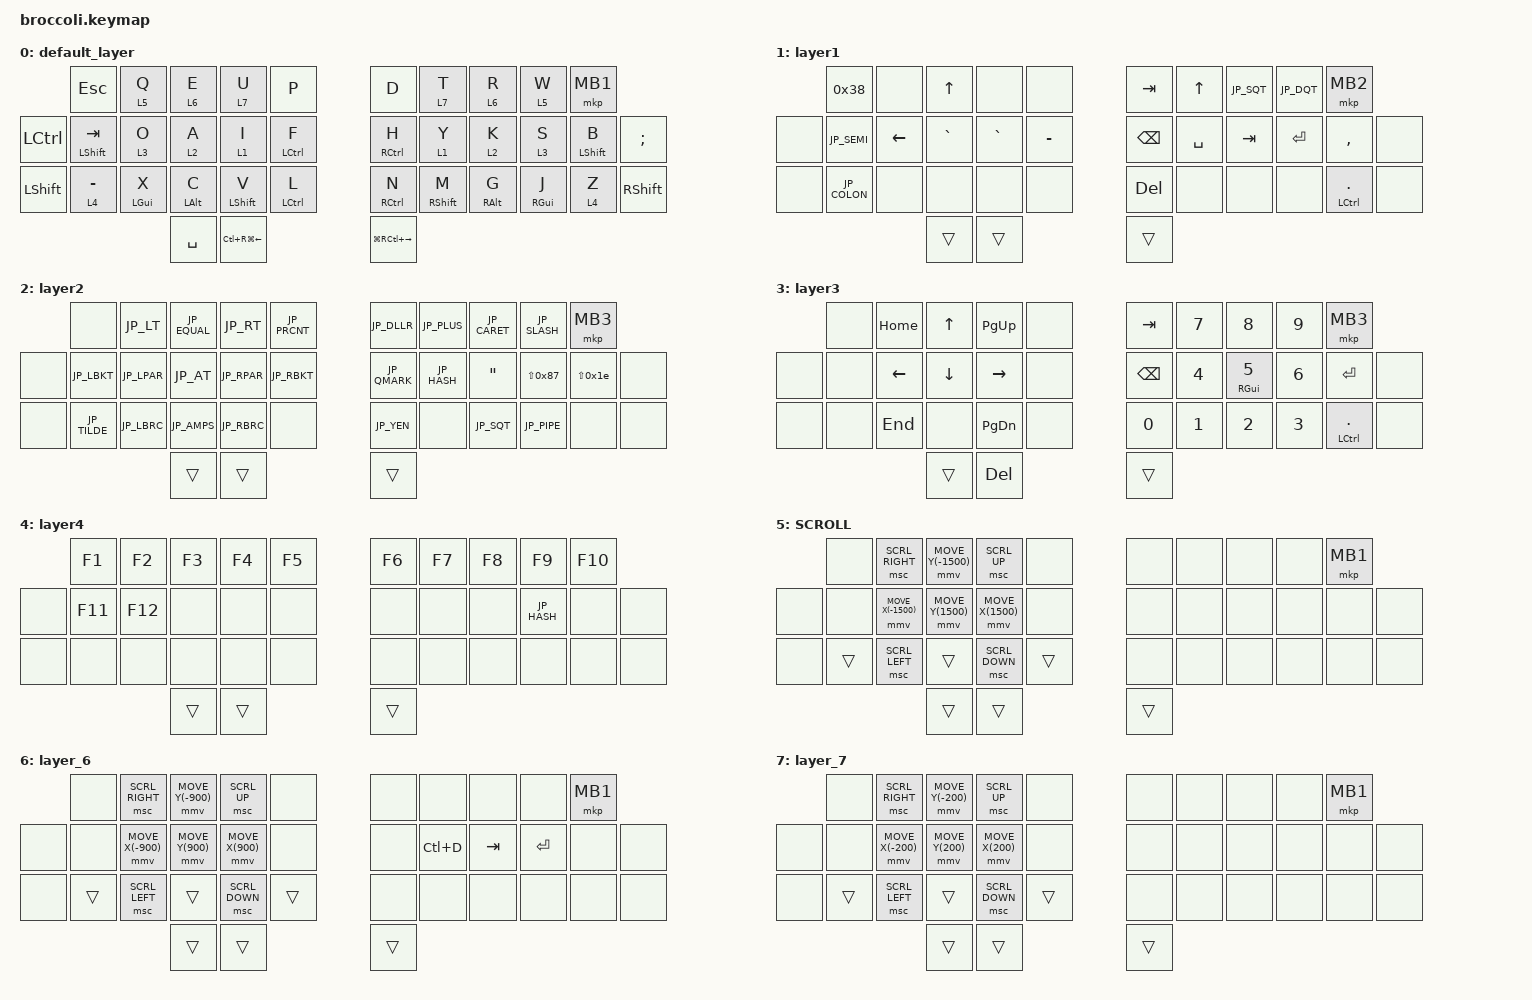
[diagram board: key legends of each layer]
#include "keycode_japanese.h"

#include <input/processors.dtsi>
#include <dt-bindings/zmk/input_transform.h>
#include <behaviors.dtsi>
#include <dt-bindings/zmk/bt.h>
#include <dt-bindings/zmk/keys.h>
#include <dt-bindings/zmk/pointing.h>




&msc {
    acceleration-exponent = <0>;      // 0
    time-to-max-speed-ms = <0>;       // 300
    delay-ms = <0>;                   // 0
};

&mmv {
    time-to-max-speed-ms = <0>;
    acceleration-exponent = <0>;
    trigger-period-ms = <10>;
    delay-ms = <0>;
};

&mt { 
    flavor = "balanced"; 
    tapping-term-ms = <200>;
    quick-tap-ms = <150>; 
};

&lt {
    flavor = "balanced";
    tapping-term-ms = <200>; 
    quick-tap-ms = <150>; 
};




/ {

    keymap {
        compatible = "zmk,keymap";

        default_layer {
            bindings = <
                &kp ESCAPE      &lt 5 Q    &lt 6 E    &lt 7 U  &kp P                               &kp D        &lt 7 T       &lt 6 R     &lt 5 W     &mkp MB1
&kp LEFT_CONTROL &mt LSHIFT TAB  &lt 3 O    &lt 2 A    &lt 1 I       &mt LCTRL F                  &mt RCTRL H  &lt 1 Y       &lt 2 K     &lt 3 S     &mt LEFT_SHIFT B    &kp SEMICOLON
&kp LEFT_SHIFT   &lt 4 MINUS     &mt LGUI X &mt LALT C &mt LSHIFT V  &mt LCTRL L                  &mt RCTRL N  &mt RSHIFT M  &mt RALT G  &mt RGUI J  &lt 4 Z             &kp RIGHT_SHIFT

                                            &kp SPACE &kp LC(RG(LEFT))                            &kp LG(RC(RIGHT))
            >;
        };

        layer1 {
            bindings = <
       &kp 0x38      &none      &kp UP     &none      &none                              &kp TAB        &kp UP     &kp JP_SQT  &kp JP_DQT  &mkp MB2
&none   &kp JP_SEMI   &kp LEFT   &kp GRAVE  &kp GRAVE  &kp MINUS                       &kp BACKSPACE  &kp SPACE  &kp TAB     &kp ENTER   &kp COMMA    &none
&none     &kp JP_COLON  &none      &none      &none      &none                          &kp DELETE     &none      &none       &none       &mt LCTRL PERIOD &none
                                               &trans            &trans                                                   &trans
            >;
        };

        layer2 {
            bindings = <
                   &none        &kp JP_LT      &kp JP_EQUAL   &kp JP_RT    &kp JP_PRCNT                               &kp JP_DLLR   &kp JP_PLUS  &kp JP_CARET      &kp JP_SLASH  &mkp MB3
          &none    &kp JP_LBKT  &kp JP_LPAR    &kp JP_AT      &kp JP_RPAR  &kp JP_RBKT                             &kp JP_QMARK  &kp JP_HASH  &kp DOUBLE_QUOTES &kp LS(0x87)  &kp LS(0x1e)   &none
          &none    &kp JP_TILDE &kp JP_LBRC    &kp JP_AMPS    &kp JP_RBRC  &none                                   &kp JP_YEN    &none        &kp JP_SQT        &kp JP_PIPE   &none          &none
  
                                                   &trans                        &trans                                                                                  &trans
            >;
        };

        layer3 {
            bindings = <
                       &none        &kp HOME   &kp UP     &kp PAGE_UP      &none                               &kp TAB          &kp N7          &kp N8        &kp N9         &mkp MB3
             &none     &none        &kp LEFT   &kp DOWN   &kp RIGHT        &none                               &kp BACKSPACE  &kp N4          &mt RGUI N5        &kp N6         &kp ENTER        &none
             &none     &none        &kp END    &none      &kp PAGE_DOWN    &none                               &kp N0         &kp N1          &kp N2        &kp N3         &mt LCTRL PERIOD      &none       
           
                            &trans        &kp DELETE                                 &trans
            >;
        };

        layer4 {
            bindings = <       
  &kp F1   &kp F2    &kp F3  &kp F4  &kp F5                            &kp F6  &kp F7  &kp F8  &kp F9       &kp F10
   &none    &kp F11  &kp F12   &none   &none   &none             &none   &none   &none   &kp JP_HASH  &none      &none
      &none            &none    &none     &none   &none   &none                      &none   &none   &none   &none        &none     &none

&trans  &trans                            &trans
            >;
        };


        SCROLL {
            bindings = <
             &none   &msc SCRL_RIGHT    &mmv MOVE_Y(-1500)  &msc SCRL_UP       &none                    &none   &none  &none  &none  &mkp MB1
         &none          &none   &mmv MOVE_X(-1500) &mmv MOVE_Y(1500)   &mmv MOVE_X(1500)  &none                  &none   &none  &none  &none  &none     &none
           &none        &trans  &msc SCRL_LEFT     &trans              &msc SCRL_DOWN     &trans               &none   &none  &none  &none  &none     &none
                &trans  &trans                          &trans
            >;
        };

        layer_6 {
            bindings = <
            &none  &msc SCRL_RIGHT   &mmv MOVE_Y(-900) &msc SCRL_UP      &none                   &none  &none     &none    &none     &mkp MB1
      &none             &none  &mmv MOVE_X(-900) &mmv MOVE_Y(900)  &mmv MOVE_X(900)  &none                 &none  &kp LC(D) &kp TAB  &kp ENTER &none       &none
         &none          &trans &msc SCRL_LEFT    &trans            &msc SCRL_DOWN    &trans              &none  &none     &none    &none     &none            &none
           &trans  &trans                          &trans
            >;
        };

        layer_7 {
            bindings = <
              &none  &msc SCRL_RIGHT   &mmv MOVE_Y(-200) &msc SCRL_UP      &none              &none  &none  &none  &none  &mkp MB1
     &none              &none  &mmv MOVE_X(-200) &mmv MOVE_Y(200)  &mmv MOVE_X(200)  &none             &none  &none  &none  &none  &none      &none
       &none            &trans &msc SCRL_LEFT    &trans            &msc SCRL_DOWN    &trans           &none  &none  &none  &none  &none        &none
          &trans  &trans                          &trans
            >;



        };


    };



    //    0  1  2  3  4  　　　　 5  6  7  8  9  
    // 10 11 12 13 14 15        16 17 18 19 20 21
    // 22 23 24 25 26 27        28 29 30 31 32 33
    //             34 35        36



    combos {
        compatible = "zmk,combos";

   lang {
            bindings = <&kp GRAVE>;
            key-positions = <1 3>;
            layers = <0>;
            timeout-ms = <200>;
        };

        fopen {
            bindings = <&kp LG(N2)>;
            key-positions = <5 9>;
            layers = <0>;
            timeout-ms = <200>;
        };

       bootloader_R {
            bindings = <&bootloader>;
            key-positions = <5 9 28 33>;
            timeout-ms = <200>;
        };

       bootloader_L {
            bindings = <&bootloader>;
            key-positions = <0 4 22 27>;
            timeout-ms = <200>;
        };

        eq {
            bindings = <&bt BT_CLR_ALL>;
            key-positions = <0 11 23>;
            timeout-ms = <50>;
            layers = <0>;
        };

        bt0 {
            bindings = <&bt BT_SEL 0>;
            key-positions = <5 16 28>;
            timeout-ms = <50>;
            layers = <0>;
        };

        bt1 {
            bindings = <&bt BT_SEL 1>;
            key-positions = <6 17 29>;
            layers = <0>;
        };

        bt2 {
            bindings = <&bt BT_SEL 2>;
            key-positions = <7 18 30>;
            layers = <0>;
        };

        mute {
            bindings = <&kp C_MUTE>;
            key-positions = <14 15>;
            layers = <0>;
        };

        vup {
            bindings = <&kp C_VOL_UP>;
            key-positions = <3 4>;
            layers = <0>;
        };

        vdn {
            bindings = <&kp C_VOL_DN>;
            key-positions = <26 27>;
            layers = <0>;
        };

        printscreen {
            bindings = <&kp PSCRN>;
            key-positions = <24 26>;
            layers = <0>;
        };


        space {
            bindings = <&kp SPACE>;
            key-positions = <11 14>;
            layers = <0>;
        };

    };

    behaviors {
        auto_caps_word: auto_caps_word {
            compatible = "zmk,behavior-auto-caps-word";
            #binding-cells = <0>;
            continue-list = <INT1 BACKSPACE DELETE>;
            display-name = "Auto Caps Word";
            auto-activate-upper-count = <3>;
        };

        hmr_l: hmr_l {
            compatible = "zmk,behavior-hold-tap";
            label = "HMR_L";
            bindings = <&kp>, <&kp>;

            #binding-cells = <2>;
            tapping-term-ms = <300>;
            flavor = "balanced";
            hold-trigger-key-positions = <5 32 33 28 29 19 18 17 16 6 7 8 9 20 21 30 31>;
            hold-trigger-on-release;
            require-prior-idle-ms = <150>;
        };

        hmr_r: hmr_r {
            compatible = "zmk,behavior-hold-tap";
            label = "HMR_R";
            bindings = <&kp>, <&kp>;

            #binding-cells = <2>;
            tapping-term-ms = <300>;
            flavor = "balanced";
            hold-trigger-key-positions = <22 23 24 14 13 12 11 10 0 1 2 3 4 15 25 26 27>;
            hold-trigger-on-release;
            require-prior-idle-ms = <150>;
        };

        lt_thumb: lt_thumb {
            compatible = "zmk,behavior-hold-tap";
            label = "LT_THUMB";
            bindings = <&mo>, <&kp>;

            #binding-cells = <2>;
            tapping-term-ms = <250>;
        };

        lt_arrow: lt_arrow {
            compatible = "zmk,behavior-hold-tap";
            label = "LT_ARROW";
            bindings = <&mo>, <&kp>;

            #binding-cells = <2>;
            flavor = "balanced";
            tapping-term-ms = <200>;
            require-prior-idle-ms = <150>;
        };

        lt_scroll: lt_scroll {
            compatible = "zmk,behavior-hold-tap";
            label = "LT_SCROLL";
            #binding-cells = <2>;
            tapping-term-ms = <300>;
            flavor = "tap-preferred";
            bindings = <&mo>, <&kp>;

            hold-while-undecided;
            require-prior-idle-ms = <150>;
        };

        hmr_l_2: hmr_l_2 {
            compatible = "zmk,behavior-hold-tap";
            label = "HMR_L_2";
            bindings = <&kp>, <&kp>;

            #binding-cells = <2>;
            tapping-term-ms = <300>;
            flavor = "balanced";
            hold-trigger-key-positions = <5 32 33 28 29 19 18 17 16 6 7 8 9 21 20 31 30>;
            hold-trigger-on-release;
            require-prior-idle-ms = <150>;
            hold-while-undecided;
        };

        hmr_r_2: hmr_r_2 {
            compatible = "zmk,behavior-hold-tap";
            label = "HMR_R_2";
            bindings = <&kp>, <&kp>;

            #binding-cells = <2>;
            tapping-term-ms = <300>;
            flavor = "balanced";
            hold-trigger-key-positions = <22 23 24 14 13 12 11 10 0 1 2 3 4 25 26 27 15>;
            hold-trigger-on-release;
            require-prior-idle-ms = <150>;
            hold-while-undecided;
        };

        hmr_num_l: hmr_num_l {
            compatible = "zmk,behavior-hold-tap";
            label = "HMR_NUM_L";
            bindings = <&kp>, <&kp>;

            #binding-cells = <2>;
            tapping-term-ms = <300>;
            flavor = "tap-preferred";
            hold-trigger-key-positions = <5 32 33 28 29 19 18 17 16 6 7 8 9 20 21 30 31>;
            hold-trigger-on-release;
            require-prior-idle-ms = <150>;
            retro-tap;
        };

        hmr_num_r: hmr_num_r {
            compatible = "zmk,behavior-hold-tap";
            label = "HMR_NUM_R";
            bindings = <&kp>, <&kp>;

            #binding-cells = <2>;
            tapping-term-ms = <300>;
            flavor = "tap-preferred";
            hold-trigger-key-positions = <22 23 24 14 13 12 11 10 0 1 2 3 4 25 26 27 15>;
            hold-trigger-on-release;
            require-prior-idle-ms = <150>;
            retro-tap;
        };
    };
};


/ {
    input_processors {
        zip_scroll_x_scaler: zip_scroll_x_scaler {
            compatible = "zmk,input-processor-scaler";
            #input-processor-cells = <2>;
            type = <INPUT_EV_REL>;
            codes = <INPUT_REL_HWHEEL>;
            track-remainders;
        };
    };
};




&trackball_listener {
    input-processors = <&zip_xy_swap_mapper &zip_xy_transform INPUT_TRANSFORM_X_INVERT>;

    scroller {
        layers = <1>;
        input-processors = <&zip_xy_swap_mapper &zip_xy_transform INPUT_TRANSFORM_X_INVERT &zip_xy_transform INPUT_TRANSFORM_Y_INVERT &zip_xy_to_scroll_mapper &zip_scroll_scaler 1 50 &zip_scroll_x_scaler 0 1>;
    };

    scroller_h {
        layers = <2>;
        input-processors = <&zip_xy_swap_mapper &zip_xy_transform INPUT_TRANSFORM_X_INVERT &zip_xy_transform INPUT_TRANSFORM_Y_INVERT &zip_xy_to_scroll_mapper &zip_scroll_scaler 1 50>;
    };

};
